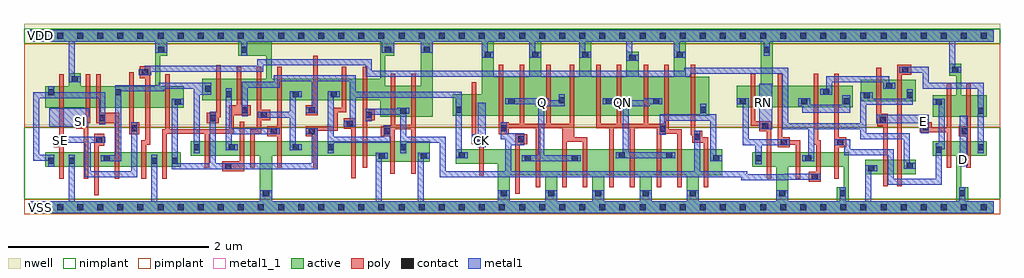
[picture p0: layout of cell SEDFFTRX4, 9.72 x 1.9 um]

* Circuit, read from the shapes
.subckt SEDFFTRX4 CK D E Q QN RN SE SI VDD VSS
M1 VSS SE n1 VSS nfet w=0.145u l=0.045u
M2 n2 SI VSS VSS nfet w=0.145u l=0.045u
M3 n3 SE n2 VSS nfet w=0.145u l=0.045u
M4 n4 n1 n3 VSS nfet w=0.145u l=0.045u
M5 VSS n5 n4 VSS nfet w=0.145u l=0.045u
M6 n6 n7 VSS VSS nfet w=0.145u l=0.045u
M7 n8 n7 n3 VSS nfet w=0.145u l=0.045u
M8 n9 n6 n8 VSS nfet w=0.145u l=0.045u
M9 VSS n10 n9 VSS nfet w=0.145u l=0.045u
M10 n10 n8 VSS VSS nfet w=0.145u l=0.045u
M11 n11 n6 n10 VSS nfet w=0.145u l=0.045u
M12 n12 n7 n11 VSS nfet w=0.145u l=0.045u
M13 VSS n13 n12 VSS nfet w=0.145u l=0.045u
M14 n13 n11 VSS VSS nfet w=0.205u l=0.045u m=2
M15 VSS CK n7 VSS nfet w=0.145u l=0.045u
M16 Q n13 VSS VSS nfet w=0.26u l=0.045u m=4
M17 QN n14 VSS VSS nfet w=0.26u l=0.045u m=4
M18 n14 n13 VSS VSS nfet w=0.26u l=0.045u
M19 VSS RN n15 VSS nfet w=0.145u l=0.045u
M20 n5 n15 VSS VSS nfet w=0.145u l=0.045u
M21 n16 n13 n5 VSS nfet w=0.145u l=0.045u
M22 VSS n17 n16 VSS nfet w=0.145u l=0.045u
M23 n18 E VSS VSS nfet w=0.145u l=0.045u
M24 n5 n19 n18 VSS nfet w=0.145u l=0.045u
M25 VSS E n17 VSS nfet w=0.145u l=0.045u
M26 n19 D VSS VSS nfet w=0.145u l=0.045u
M27 VDD SE n1 VDD pfet w=0.215u l=0.045u
M28 n20 SI VDD VDD pfet w=0.215u l=0.045u
M29 n3 n1 n20 VDD pfet w=0.215u l=0.045u
M30 n21 SE n3 VDD pfet w=0.215u l=0.045u
M31 VDD n5 n21 VDD pfet w=0.215u l=0.045u
M32 n6 n7 VDD VDD pfet w=0.215u l=0.045u
M33 n8 n6 n3 VDD pfet w=0.215u l=0.045u
M34 n22 n7 n8 VDD pfet w=0.215u l=0.045u
M35 VDD n10 n22 VDD pfet w=0.215u l=0.045u
M36 n10 n8 VDD VDD pfet w=0.215u l=0.045u
M37 n11 n7 n10 VDD pfet w=0.215u l=0.045u
M38 n23 n6 n11 VDD pfet w=0.215u l=0.045u
M39 VDD n13 n23 VDD pfet w=0.215u l=0.045u
M40 n13 n11 VDD VDD pfet w=0.31u l=0.045u m=2
M41 VDD CK n7 VDD pfet w=0.215u l=0.045u
M42 Q n13 VDD VDD pfet w=0.39u l=0.045u m=4
M43 QN n14 VDD VDD pfet w=0.39u l=0.045u m=4
M44 n14 n13 VDD VDD pfet w=0.39u l=0.045u
M45 VDD RN n15 VDD pfet w=0.215u l=0.045u
M46 n24 n15 VDD VDD pfet w=0.215u l=0.045u
M47 n25 n13 n24 VDD pfet w=0.215u l=0.045u
M48 n24 n17 n25 VDD pfet w=0.215u l=0.045u
M49 n25 E n5 VDD pfet w=0.215u l=0.045u
M50 n5 n19 n25 VDD pfet w=0.215u l=0.045u
M51 VDD E n17 VDD pfet w=0.215u l=0.045u
M52 n19 D VDD VDD pfet w=0.215u l=0.045u
.ends

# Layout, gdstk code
import gdstk
lib = gdstk.Library(unit=1e-6, precision=5e-10)
def R(c, l, rs):  # rectangles x0, y0, x1, y1
    for r in rs: c.add(gdstk.rectangle(r[:2], r[2:], *l))
def A(c, l, x, y, w, h, nx, ny, dx, dy):  # array of equal rectangles
    R(c, l, [(x+i*dx, y+j*dy, x+i*dx+w, y+j*dy+h) for i in range(nx) for j in range(ny)])
def P(c, l, *ps):  # polygons
    for p in ps: c.add(gdstk.Polygon(p, *l))
active = (1, 0)
nwell = (2, 0)
poly = (3, 0)
nimplant = (4, 0)
pimplant = (5, 0)
contact = (6, 0)
metal1 = (7, 0)
metal1_1 = (7, 1)

sedfftrx4 = lib.new_cell('SEDFFTRX4')
R(sedfftrx4, active, [(8.32,0.33,8.82,0.475), (0.15,0.405,1.5,0.55), (8.275,1.055,8.82,1.27)])
P(sedfftrx4, active, [(0,1.77),(9.6,1.77),(9.6,1.65),(7.395,1.65),(7.395,1.21),(8.195,1.21),(8.195,0.995),(7.04,0.995),(7.04,1.21),(7.275,1.21),(7.275,1.65),(6.53,1.65),(6.53,1.3),(6.765,1.3),(6.765,0.91),(4.21,0.91),(4.21,1.125),(4.5,1.125),(4.5,1.65),(4.62,1.65),(4.62,1.3),(4.97,1.3),(4.97,1.65),(5.09,1.65),(5.09,1.3),(5.47,1.3),(5.47,1.65),(5.59,1.65),(5.59,1.3),(5.94,1.3),(5.94,1.55),(6.06,1.55),(6.06,1.3),(6.41,1.3),(6.41,1.65),(4.01,1.65),(4.01,0.9),(3.49,0.9),(3.49,1.065),(1.715,1.065),(1.715,1.28),(2.355,1.28),(2.355,1.51),(2.075,1.51),(2.075,1.65),(2.405,1.65),(2.405,1.28),(3.49,1.28),(3.49,1.65),(3.625,1.65),(3.625,1.51),(3.54,1.51),(3.54,1.21),(3.89,1.21),(3.89,1.65),(1.365,1.65),(1.365,1.51),(1.295,1.51),(1.295,1.205),(1.53,1.205),(1.53,0.99),(0.15,0.99),(0.15,1.205),(0.385,1.205),(0.385,1.335),(0.505,1.335),(0.505,1.205),(1.245,1.205),(1.245,1.65),(0,1.65)],
  [(9.155,1.43),(9.275,1.43),(9.275,1.115),(9.53,1.115),(9.53,0.9),(8.99,0.9),(8.99,1.115),(9.225,1.115),(9.225,1.31),(9.155,1.31)],
  [(1.6,0.66),(3.98,0.66),(3.98,0.455),(3.445,0.455),(3.445,0.515),(2.41,0.515),(2.41,0.06),(4.66,0.06),(4.66,0.32),(4.78,0.32),(4.78,0.06),(5.13,0.06),(5.13,0.32),(5.25,0.32),(5.25,0.06),(5.6,0.06),(5.6,0.32),(5.72,0.32),(5.72,0.06),(6.07,0.06),(6.07,0.32),(6.19,0.32),(6.19,0.06),(6.54,0.06),(6.54,0.32),(4.66,0.32),(4.66,0.435),(4.24,0.435),(4.24,0.58),(6.895,0.58),(6.895,0.32),(6.66,0.32),(6.66,0.06),(7.43,0.06),(7.43,0.405),(7.55,0.405),(7.55,0.06),(8.035,0.06),(8.035,0.2),(8.105,0.2),(8.105,0.405),(7.195,0.405),(7.195,0.55),(8.155,0.55),(8.155,0.06),(9.225,0.06),(9.225,0.515),(8.99,0.515),(8.99,0.66),(9.53,0.66),(9.53,0.515),(9.275,0.515),(9.275,0.2),(9.345,0.2),(9.345,0.06),(9.6,0.06),(9.6,-0.06),(0,-0.06),(0,0.06),(2.29,0.06),(2.29,0.515),(1.6,0.515)])
R(sedfftrx4, nwell, [(-0.06,0.82,9.66,1.83)])
P(sedfftrx4, poly, [(1.095,1.405),(1.195,1.405),(1.195,0.625),(1.155,0.625),(1.155,0.285),(1.11,0.285),(1.11,0.67),(1.15,0.67),(1.15,1.285),(1.095,1.285)],
  [(0.29,1.325),(0.335,1.325),(0.335,0.285),(0.29,0.285),(0.29,0.6),(0.235,0.6),(0.235,0.72),(0.29,0.72)],
  [(0.555,1.325),(0.6,1.325),(0.6,0.84),(0.58,0.84),(0.58,0.285),(0.535,0.285),(0.535,0.785),(0.46,0.785),(0.46,0.885),(0.555,0.885)],
  [(0.66,1.325),(0.705,1.325),(0.705,0.94),(0.89,0.94),(0.89,0.285),(0.845,0.285),(0.845,0.84),(0.66,0.84)],
  [(0.99,1.345),(1.035,1.345),(1.035,0.85),(1.09,0.85),(1.09,0.73),(0.99,0.73)],
  [(1.345,1.325),(1.39,1.325),(1.39,0.78),(1.985,0.78),(1.985,1.015),(2.06,1.015),(2.06,1.4),(2.105,1.4),(2.105,1.015),(2.2,1.015),(2.2,0.915),(2.03,0.915),(2.03,0.735),(1.785,0.735),(1.785,0.395),(1.74,0.395),(1.74,0.735),(1.36,0.735),(1.36,0.285),(1.315,0.285),(1.315,0.78),(1.345,0.78)],
  [(1.855,1.415),(1.9,1.415),(1.9,0.895),(1.88,0.895),(1.88,0.84),(1.76,0.84),(1.76,0.94),(1.855,0.94)],
  [(2.26,1.4),(2.305,1.4),(2.305,0.97),(2.39,0.97),(2.39,0.87),(2.305,0.87),(2.305,0.735),(2.24,0.735),(2.24,0.395),(2.195,0.395),(2.195,0.78),(2.26,0.78)],
  [(2.46,1.4),(2.505,1.4),(2.505,0.395),(2.46,0.395),(2.46,0.71),(2.365,0.71),(2.365,0.81),(2.46,0.81)],
  [(2.82,1.51),(2.865,1.51),(2.865,0.915),(2.745,0.915),(2.745,1.015),(2.82,1.015)],
  [(3.105,1.4),(3.15,1.4),(3.15,0.945),(3.065,0.945),(3.065,0.765),(2.865,0.765),(2.865,0.395),(2.82,0.395),(2.82,0.71),(2.745,0.71),(2.745,0.81),(3.02,0.81),(3.02,0.99),(3.105,0.99)],
  [(3.315,1.4),(3.36,1.4),(3.36,0.97),(3.435,0.97),(3.435,0.87),(3.36,0.87),(3.36,0.395),(3.315,0.395)],
  [(3.59,1.33),(3.635,1.33),(3.635,0.825),(3.795,0.825),(3.795,1.33),(3.84,1.33),(3.84,0.335),(3.795,0.335),(3.795,0.78),(3.63,0.78),(3.63,0.335),(3.585,0.335),(3.585,0.71),(3.495,0.71),(3.495,0.81),(3.59,0.81)],
  [(4.67,1.42),(4.715,1.42),(4.715,0.85),(4.77,0.85),(4.77,0.835),(4.875,0.835),(4.875,1.42),(4.92,1.42),(4.92,0.835),(5.14,0.835),(5.14,1.42),(5.185,1.42),(5.185,0.835),(5.375,0.835),(5.375,1.42),(5.42,1.42),(5.42,0.7),(5.55,0.7),(5.55,0.2),(5.505,0.2),(5.505,0.655),(5.345,0.655),(5.345,0.2),(5.3,0.2),(5.3,0.79),(5.08,0.79),(5.08,0.2),(5.035,0.2),(5.035,0.79),(4.77,0.79),(4.77,0.73),(4.67,0.73)],
  [(4.4,1.245),(4.445,1.245),(4.445,0.73),(4.52,0.73),(4.52,0.315),(4.475,0.315),(4.475,0.63),(4.4,0.63)],
  [(5.64,1.42),(5.685,1.42),(5.685,0.835),(5.845,0.835),(5.845,1.42),(5.89,1.42),(5.89,0.835),(6.11,0.835),(6.11,1.42),(6.155,1.42),(6.155,0.835),(6.315,0.835),(6.315,1.42),(6.36,1.42),(6.36,0.78),(6.49,0.78),(6.49,0.2),(6.445,0.2),(6.445,0.735),(6.285,0.735),(6.285,0.2),(6.24,0.2),(6.24,0.79),(6.02,0.79),(6.02,0.2),(5.975,0.2),(5.975,0.79),(5.815,0.79),(5.815,0.2),(5.77,0.2),(5.77,0.79),(5.64,0.79)],
  [(6.58,1.42),(6.625,1.42),(6.625,0.765),(6.695,0.765),(6.695,0.7),(6.755,0.7),(6.755,0.2),(6.71,0.2),(6.71,0.645),(6.595,0.645),(6.595,0.72),(6.58,0.72)],
  [(7.18,1.33),(7.225,1.33),(7.225,0.86),(7.38,0.86),(7.38,0.285),(7.335,0.285),(7.335,0.76),(7.26,0.76),(7.26,0.815),(7.18,0.815)],
  [(8.635,1.42),(8.775,1.42),(8.775,1.32),(8.68,1.32),(8.68,0.21),(8.635,0.21)],
  [(7.445,1.33),(7.49,1.33),(7.49,0.7),(7.565,0.7),(7.565,0.67),(7.67,0.67),(7.67,0.285),(7.625,0.285),(7.625,0.625),(7.565,0.625),(7.565,0.6),(7.445,0.6)],
  [(7.805,1.33),(7.85,1.33),(7.85,0.67),(7.875,0.67),(7.875,0.255),(7.755,0.255),(7.755,0.355),(7.83,0.355),(7.83,0.625),(7.805,0.625)],
  [(8.01,1.33),(8.055,1.33),(8.055,0.7),(8.13,0.7),(8.13,0.6),(8.055,0.6),(8.055,0.285),(8.01,0.285)],
  [(8.43,1.39),(8.475,1.39),(8.475,0.93),(8.54,0.93),(8.54,0.21),(8.495,0.21),(8.495,0.81),(8.44,0.81),(8.44,0.885),(8.43,0.885)],
  [(8.86,0.85),(8.98,0.85),(8.98,0.795),(9.13,0.795),(9.13,1.235),(9.175,1.235),(9.175,0.395),(9.13,0.395),(9.13,0.75),(8.86,0.75)],
  [(9.325,1.235),(9.37,1.235),(9.37,0.395),(9.325,0.395),(9.325,0.71),(9.25,0.71),(9.25,0.81),(9.325,0.81)],
  [(3.125,0.885),(3.245,0.885),(3.245,0.29),(3.2,0.29),(3.2,0.785),(3.125,0.785)],
  [(4.83,0.73),(4.95,0.73),(4.95,0.63),(4.875,0.63),(4.875,0.135),(4.83,0.135)],
  [(0.64,0.735),(0.74,0.735),(0.74,0.615),(0.685,0.615),(0.685,0.12),(0.64,0.12)],
  [(2.09,0.855),(2.135,0.855),(2.135,0.36),(1.915,0.36),(1.915,0.46),(2.09,0.46)])
R(sedfftrx4, nimplant, [(-0.06,0.08,9.66,0.8), (-0.06,1.63,9.66,1.78)])
R(sedfftrx4, pimplant, [(-0.06,-0.07,9.66,0.08), (-0.06,0.8,9.66,1.63)])
A(sedfftrx4, contact, 0.07, -0.03, 0.06, 0.06, 48, 2, 0.2, 1.71)
A(sedfftrx4, contact, 4.69, 0.11, 0.06, 0.06, 5, 1, 0.47, 0)
R(sedfftrx4, contact, [(2.32,0.11,2.38,0.17), (7.46,0.11,7.52,0.17), (8.065,0.11,8.125,0.17), (9.255,0.11,9.315,0.17), (7.785,0.275,7.845,0.335), (8.35,0.36,8.41,0.42), (1.945,0.38,2.005,0.44), (8.73,0.385,8.79,0.445), (0.18,0.435,0.24,0.495), (0.385,0.435,0.445,0.495), (1.205,0.435,1.265,0.495), (1.41,0.435,1.47,0.495), (0.735,0.46,0.795,0.52), (4.925,0.46,4.985,0.52), (5.395,0.46,5.455,0.52), (6.805,0.46,6.865,0.52), (7.225,0.46,7.285,0.52), (7.72,0.46,7.78,0.52), (3.475,0.485,3.535,0.545), (3.89,0.485,3.95,0.545), (4.27,0.49,4.33,0.55), (5.865,0.49,5.925,0.55), (6.335,0.49,6.395,0.55), (9.02,0.545,9.08,0.605), (1.63,0.57,1.69,0.63), (1.98,0.57,2.04,0.63), (2.615,0.57,2.675,0.63), (2.965,0.57,3.025,0.63), (3.685,0.57,3.745,0.63), (9.44,0.57,9.5,0.63), (7.475,0.62,7.535,0.68), (8.04,0.62,8.1,0.68), (0.255,0.63,0.315,0.69), (0.66,0.645,0.72,0.705), (4.43,0.65,4.49,0.71), (4.86,0.65,4.92,0.71), (6.615,0.675,6.675,0.735), (2.395,0.73,2.455,0.79), (2.775,0.73,2.835,0.79), (3.525,0.73,3.585,0.79), (9.28,0.73,9.34,0.79), (6.27,0.755,6.33,0.815), (1.01,0.76,1.07,0.82), (4.69,0.76,4.75,0.82), (8.89,0.77,8.95,0.83), (7.29,0.78,7.35,0.84), (0.49,0.805,0.55,0.865), (3.155,0.805,3.215,0.865), (8.46,0.84,8.52,0.9), (0.69,0.86,0.75,0.92), (1.79,0.86,1.85,0.92), (2.3,0.89,2.36,0.95), (3.345,0.89,3.405,0.95), (3.685,0.93,3.745,0.99), (9.44,0.93,9.5,0.99), (2.11,0.935,2.17,0.995), (2.775,0.935,2.835,0.995), (4.24,0.94,4.3,1), (6.675,0.94,6.735,1), (1.44,1.02,1.5,1.08), (9.02,1.02,9.08,1.08), (4.765,1.025,4.825,1.085), (5.735,1.025,5.795,1.085), (6.205,1.025,6.265,1.085), (7.07,1.025,7.13,1.085), (7.68,1.025,7.74,1.085), (8.105,1.025,8.165,1.085), (5.265,1.035,5.325,1.095), (8.305,1.085,8.365,1.145), (8.73,1.085,8.79,1.145), (1.95,1.095,2.01,1.155), (2.615,1.095,2.675,1.155), (2.995,1.095,3.055,1.155), (0.18,1.115,0.24,1.175), (0.85,1.115,0.91,1.175), (7.9,1.12,7.96,1.18), (1.745,1.15,1.805,1.21), (8.525,1.18,8.585,1.24), (0.415,1.245,0.475,1.305), (1.115,1.315,1.175,1.375), (8.685,1.34,8.745,1.4), (9.185,1.34,9.245,1.4), (5.97,1.46,6.03,1.52), (4.53,1.49,4.59,1.55), (5,1.49,5.06,1.55), (5.5,1.49,5.56,1.55), (6.44,1.49,6.5,1.55), (1.275,1.54,1.335,1.6), (2.105,1.54,2.165,1.6), (3.535,1.54,3.595,1.6), (3.92,1.54,3.98,1.6), (7.305,1.54,7.365,1.6)])
R(sedfftrx4, metal1, [(9.26,0.41,9.34,0.91), (7.26,0.78,7.39,1.23)])
P(sedfftrx4, metal1, [(0,1.77),(9.6,1.77),(9.6,1.65),(9.215,1.65),(9.215,1.4),(9.275,1.4),(9.275,1.34),(9.155,1.34),(9.155,1.65),(7.365,1.65),(7.365,1.51),(7.305,1.51),(7.305,1.65),(6.47,1.65),(6.47,1.55),(6.53,1.55),(6.53,1.49),(6.41,1.49),(6.41,1.65),(6,1.65),(6,1.52),(6.06,1.52),(6.06,1.46),(5.94,1.46),(5.94,1.65),(5.53,1.65),(5.53,1.55),(5.59,1.55),(5.59,1.49),(5.47,1.49),(5.47,1.65),(5.03,1.65),(5.03,1.55),(5.09,1.55),(5.09,1.49),(4.97,1.49),(4.97,1.65),(4.56,1.65),(4.56,1.55),(4.62,1.55),(4.62,1.49),(4.5,1.49),(4.5,1.65),(4.01,1.65),(4.01,1.54),(3.89,1.54),(3.89,1.65),(3.625,1.65),(3.625,1.54),(3.505,1.54),(3.505,1.65),(2.165,1.65),(2.165,1.51),(2.105,1.51),(2.105,1.65),(1.365,1.65),(1.365,1.54),(1.245,1.54),(1.245,1.65),(0.445,1.65),(0.445,1.305),(0.505,1.305),(0.505,1.245),(0.385,1.245),(0.385,1.65),(0,1.65)],
  [(2.265,1.475),(3.405,1.475),(3.405,1.36),(6.515,1.36),(6.515,1.39),(7.55,1.39),(7.55,0.84),(8.27,0.84),(8.27,1.145),(8.395,1.145),(8.395,1.08),(8.73,1.08),(8.73,1.175),(8.79,1.175),(8.79,1.02),(8.33,1.02),(8.33,0.74),(8.76,0.74),(8.76,0.445),(8.82,0.445),(8.82,0.385),(8.7,0.385),(8.7,0.68),(8.27,0.68),(8.27,0.78),(7.81,0.78),(7.81,0.46),(7.69,0.46),(7.69,0.52),(7.75,0.52),(7.75,0.78),(7.49,0.78),(7.49,1.33),(6.575,1.33),(6.575,1.3),(3.345,1.3),(3.345,1.415),(2.325,1.415),(2.325,1.35),(1.205,1.35),(1.205,1.315),(1.085,1.315),(1.085,1.375),(1.145,1.375),(1.145,1.41),(2.265,1.41)],
  [(8.655,1.4),(8.95,1.4),(8.95,1.24),(9.5,1.24),(9.5,0.54),(9.44,0.54),(9.44,1.18),(8.89,1.18),(8.89,1.34),(8.655,1.34)],
  [(1.28,1.24),(1.805,1.24),(1.805,1.12),(1.69,1.12),(1.69,0.54),(1.63,0.54),(1.63,1.18),(1.335,1.18),(1.335,1.155),(0.91,1.155),(0.91,0.46),(0.705,0.46),(0.705,0.52),(0.85,0.52),(0.85,1.215),(1.28,1.215)],
  [(0.18,1.205),(0.24,1.205),(0.24,1.145),(0.75,1.145),(0.75,0.83),(0.69,0.83),(0.69,1.085),(0.09,1.085),(0.09,0.525),(0.24,0.525),(0.24,0.405),(0.18,0.405),(0.18,0.465),(0.03,0.465),(0.03,1.145),(0.18,1.145)],
  [(2.425,1.315),(3.245,1.315),(3.245,1.15),(4.3,1.15),(4.3,0.55),(4.36,0.55),(4.36,0.49),(4.24,0.49),(4.24,1.09),(3.245,1.09),(3.245,0.805),(3.125,0.805),(3.125,0.865),(3.185,0.865),(3.185,1.255),(2.865,1.255),(2.865,0.935),(2.745,0.935),(2.745,0.995),(2.805,0.995),(2.805,1.255),(2.485,1.255),(2.485,1.19),(2.17,1.19),(2.17,0.905),(2.11,0.905),(2.11,1.25),(2.425,1.25)],
  [(0.19,0.985),(0.59,0.985),(0.59,0.905),(0.58,0.905),(0.58,0.805),(0.19,0.805)],
  [(0.225,0.705),(0.75,0.705),(0.75,0.645),(0.605,0.645),(0.605,0.36),(1.01,0.36),(1.01,0.85),(1.07,0.85),(1.07,0.3),(0.545,0.3),(0.545,0.645),(0.365,0.645),(0.365,0.625),(0.225,0.625)],
  [(0.385,0.525),(0.445,0.525),(0.445,0.06),(1.205,0.06),(1.205,0.525),(1.265,0.525),(1.265,0.06),(2.29,0.06),(2.29,0.17),(2.41,0.17),(2.41,0.06),(3.445,0.06),(3.445,0.545),(3.565,0.545),(3.565,0.485),(3.505,0.485),(3.505,0.06),(3.86,0.06),(3.86,0.545),(3.98,0.545),(3.98,0.485),(3.92,0.485),(3.92,0.06),(4.66,0.06),(4.66,0.17),(4.78,0.17),(4.78,0.06),(5.13,0.06),(5.13,0.17),(5.25,0.17),(5.25,0.06),(5.6,0.06),(5.6,0.17),(5.72,0.17),(5.72,0.06),(6.07,0.06),(6.07,0.17),(6.19,0.17),(6.19,0.06),(6.54,0.06),(6.54,0.17),(6.66,0.17),(6.66,0.06),(7.43,0.06),(7.43,0.17),(7.55,0.17),(7.55,0.06),(8.065,0.06),(8.065,0.2),(8.125,0.2),(8.125,0.06),(8.32,0.06),(8.32,0.42),(8.44,0.42),(8.44,0.36),(8.38,0.36),(8.38,0.06),(9.255,0.06),(9.255,0.2),(9.315,0.2),(9.315,0.06),(9.6,0.06),(9.6,-0.06),(0,-0.06),(0,0.06),(0.385,0.06)],
  [(1.41,1.08),(1.53,1.08),(1.53,1.02),(1.47,1.02),(1.47,0.44),(1.79,0.44),(1.79,0.95),(1.85,0.95),(1.85,0.44),(2.805,0.44),(2.805,0.73),(2.745,0.73),(2.745,0.79),(2.865,0.79),(2.865,0.38),(1.41,0.38)],
  [(1.95,1.185),(2.01,1.185),(2.01,0.79),(2.485,0.79),(2.485,0.73),(2.01,0.73),(2.01,0.63),(2.07,0.63),(2.07,0.57),(1.95,0.57)],
  [(2.585,1.155),(2.705,1.155),(2.705,1.095),(2.645,1.095),(2.645,0.63),(2.705,0.63),(2.705,0.57),(2.585,0.57),(2.585,0.89),(2.27,0.89),(2.27,0.95),(2.585,0.95)],
  [(7.93,1.305),(8.555,1.305),(8.555,1.24),(8.615,1.24),(8.615,1.18),(8.495,1.18),(8.495,1.245),(7.99,1.245),(7.99,1.12),(7.87,1.12),(7.87,1.18),(7.93,1.18)],
  [(2.965,1.155),(3.085,1.155),(3.085,1.095),(3.025,1.095),(3.025,0.705),(3.525,0.705),(3.525,0.82),(3.585,0.82),(3.585,0.645),(3.025,0.645),(3.025,0.54),(2.965,0.54)],
  [(4.735,1.085),(5.165,1.085),(5.165,1.065),(5.265,1.065),(5.265,1.125),(5.325,1.125),(5.325,1.005),(5.12,1.005),(5.12,0.52),(5.485,0.52),(5.485,0.46),(4.895,0.46),(4.895,0.52),(5.06,0.52),(5.06,1.005),(5.035,1.005),(5.035,1.025),(4.735,1.025)],
  [(6.675,1.03),(6.735,1.03),(6.735,0.925),(6.835,0.925),(6.835,0.52),(6.895,0.52),(6.895,0.46),(6.775,0.46),(6.775,0.865),(6.33,0.865),(6.33,0.725),(6.27,0.725),(6.27,0.925),(6.675,0.925)],
  [(3.655,0.99),(3.775,0.99),(3.775,0.93),(3.745,0.93),(3.745,0.705),(4.14,0.705),(4.14,0.36),(4.735,0.36),(4.735,0.68),(4.69,0.68),(4.69,0.85),(4.75,0.85),(4.75,0.74),(4.92,0.74),(4.92,0.62),(4.795,0.62),(4.795,0.36),(6.615,0.36),(6.615,0.765),(6.675,0.765),(6.675,0.36),(7.145,0.36),(7.145,0.33),(7.515,0.33),(7.515,0.335),(7.875,0.335),(7.875,0.275),(7.55,0.275),(7.55,0.27),(7.085,0.27),(7.085,0.3),(4.08,0.3),(4.08,0.645),(3.745,0.645),(3.745,0.54),(3.685,0.54),(3.685,0.92),(3.405,0.92),(3.405,0.86),(3.345,0.86),(3.345,0.98),(3.655,0.98)],
  [(5.705,1.085),(5.965,1.085),(5.965,1.065),(6.11,1.065),(6.11,1.085),(6.295,1.085),(6.295,1.025),(6.17,1.025),(6.17,1.005),(5.965,1.005),(5.965,0.55),(6.425,0.55),(6.425,0.49),(5.835,0.49),(5.835,0.55),(5.905,0.55),(5.905,1.005),(5.835,1.005),(5.835,1.025),(5.705,1.025)],
  [(7.04,1.085),(7.16,1.085),(7.16,0.68),(7.565,0.68),(7.565,0.62),(7.285,0.62),(7.285,0.43),(7.225,0.43),(7.225,0.62),(7.1,0.62),(7.1,1.025),(7.04,1.025)],
  [(4.46,1.04),(4.54,1.04),(4.54,0.6),(4.46,0.6),(4.46,0.65),(4.4,0.65),(4.4,0.73),(4.46,0.73)],
  [(7.65,1.085),(7.77,1.085),(7.77,1.02),(8.09,1.02),(8.09,1.115),(8.17,1.115),(8.17,0.94),(7.69,0.94),(7.69,1.005),(7.65,1.005)],
  [(8.99,1.08),(9.11,1.08),(9.11,0.58),(9.08,0.58),(9.08,0.225),(8.54,0.225),(8.54,0.52),(8.11,0.52),(8.11,0.62),(8.01,0.62),(8.01,0.68),(8.17,0.68),(8.17,0.58),(8.6,0.58),(8.6,0.285),(9.02,0.285),(9.02,0.64),(9.05,0.64),(9.05,1.02),(8.99,1.02)],
  [(8.43,0.92),(8.95,0.92),(8.95,0.74),(8.87,0.74),(8.87,0.79),(8.86,0.79),(8.86,0.84),(8.43,0.84)])
R(sedfftrx4, metal1_1, [(0.06,-0.04,0.14,0.04), (9.26,0.435,9.34,0.515), (0.26,0.625,0.34,0.705), (4.46,0.625,4.54,0.705), (0.46,0.815,0.54,0.895), (8.86,0.815,8.94,0.895), (5.06,1.005,5.14,1.085), (5.86,1.005,5.94,1.085), (7.26,1.005,7.34,1.085), (0.06,1.67,0.14,1.75)])
sedfftrx4.add(gdstk.Label('QN', (5.9,1.045), layer=7, texttype=1))
sedfftrx4.add(gdstk.Label('Q', (5.1,1.045), layer=7, texttype=1))
sedfftrx4.add(gdstk.Label('D', (9.3,0.475), layer=7, texttype=1))
sedfftrx4.add(gdstk.Label('E', (8.9,0.855), layer=7, texttype=1))
sedfftrx4.add(gdstk.Label('RN', (7.3,1.045), layer=7, texttype=1))
sedfftrx4.add(gdstk.Label('CK', (4.5,0.665), layer=7, texttype=1))
sedfftrx4.add(gdstk.Label('SI', (0.5,0.855), layer=7, texttype=1))
sedfftrx4.add(gdstk.Label('SE', (0.3,0.665), layer=7, texttype=1))
sedfftrx4.add(gdstk.Label('VDD', (0.1,1.71), layer=7, texttype=1))
sedfftrx4.add(gdstk.Label('VSS', (0.1,0), layer=7, texttype=1))
sedfftrx4.add(gdstk.Label('SEDFFTRX4', (0,0), layer=63, texttype=0))

lib.write_gds('SEDFFTRX4.gds')
